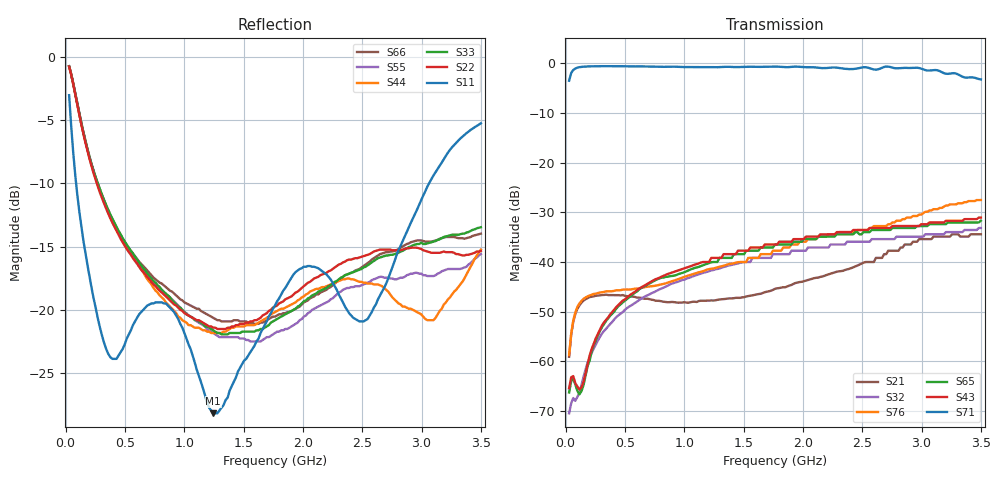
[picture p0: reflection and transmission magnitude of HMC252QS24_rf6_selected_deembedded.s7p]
!Hittite Microwave Corporation
!12 Elizabeth Drive
!Chelmsford, MA 01824
!Tel: 978-250-3343
!Fax: 978-250-3373
!Device: HMC252QS24, DC-3 GHz GaAS MMIC SP6T Non-Reflective Switch in 24-lead QSOP package
!Misc: Port 1 = RFCom, Port 2 = RF1, Port 3 = RF2, Port 4 = RF3, Port 5 = RF4, Port 6 = RF5, Port 7 = RF6, RF6 selected, Vdd=+5V
# MHZ S MA R 50
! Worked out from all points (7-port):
!   201 points, 30 MHz to 3.5 GHz, reference 50 ohm
!   strongest paths, dB at 30 MHz, 897.5 MHz, 1.765 GHz, 2.632 GHz, 3.5 GHz:
!     S71: -3.5, -0.7, -0.7, -1.2, -3.3
!     S43: -65.4, -42.1, -36.5, -33.2, -31.1
!     S65: -66.2, -42.8, -36.5, -33.6, -31.7
!     S76: -58.8, -43.9, -37.7, -32.8, -27.5
!     S32: -70.4, -44.3, -38.4, -35.4, -33.2
!     S21: -59.1, -48.0, -45.4, -39.2, -34.4
!   lowest |S11| = -28.2 dB at 1.244 GHz (marker M1), VSWR 1.08, Z = 48.2 - j3.41 ohm
!   |S11| at or under -10 dB: 88.87 MHz to 3.063 GHz (2.975 GHz wide, 189 % of centre)
